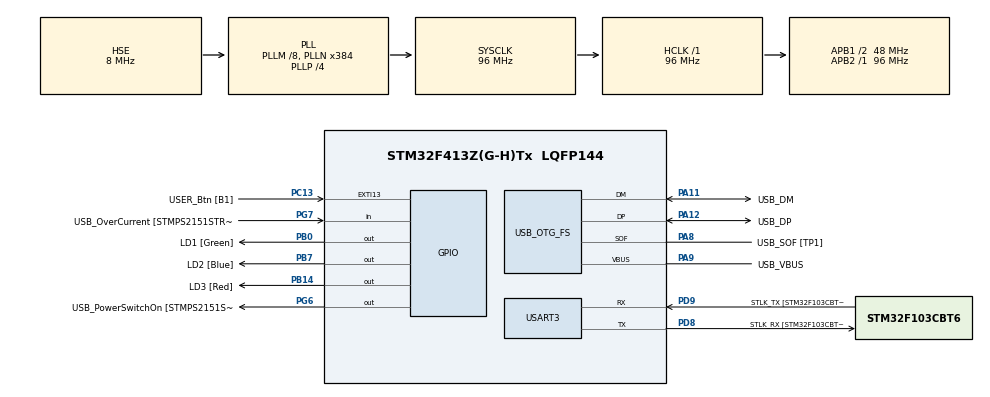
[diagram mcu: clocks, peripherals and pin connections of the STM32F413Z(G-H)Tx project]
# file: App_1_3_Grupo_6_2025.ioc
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Mcu.Family=STM32F4
Mcu.Name=STM32F413Z(G-H)Tx
Mcu.Package=LQFP144
NVIC.PriorityGroup=NVIC_PRIORITYGROUP_4
PA10.GPIO_Label=USB_ID
PA10.Signal=USB_OTG_FS_ID
PA11.GPIO_Label=USB_DM
PA11.Mode=Device_Only
PA11.Signal=USB_OTG_FS_DM
PA12.GPIO_Label=USB_DP
PA12.Mode=Device_Only
PA12.Signal=USB_OTG_FS_DP
PA13.GPIO_Label=TMS
PA13.Mode=Serial_Wire
PA13.Signal=SYS_JTMS-SWDIO
PA14.GPIO_Label=TCK
PA14.Mode=Serial_Wire
PA14.Signal=SYS_JTCK-SWCLK
PA8.GPIO_Label=USB_SOF [TP1]
PA8.Mode=Activate_SOF_FS
PA8.Signal=USB_OTG_FS_SOF
PA9.GPIO_Label=USB_VBUS
PA9.Mode=Activate_VBUS
PA9.Signal=USB_OTG_FS_VBUS
PB0.GPIO_Label=LD1 [Green]
PB0.Signal=GPIO_Output
PB14.GPIO_Label=LD3 [Red]
PB14.Signal=GPIO_Output
PB3.GPIO_Label=SWO
PB3.Signal=SYS_JTDO-SWO
PB7.GPIO_Label=LD2 [Blue]
PB7.Signal=GPIO_Output
PC13.GPIO_Label=USER_Btn [B1]
PC13.Signal=GPXTI13
PC14-OSC32_IN.Mode=LSE-External-Oscillator
PC14-OSC32_IN.Signal=RCC_OSC32_IN
PC15-OSC32_OUT.Mode=LSE-External-Oscillator
PC15-OSC32_OUT.Signal=RCC_OSC32_OUT
PD8.GPIO_Label=STLK_RX [STM32F103CBT6_PA3]
PD8.Mode=Asynchronous
PD8.Signal=USART3_TX
PD9.GPIO_Label=STLK_TX [STM32F103CBT6_PA2]
PD9.Mode=Asynchronous
PD9.Signal=USART3_RX
PG6.GPIO_Label=USB_PowerSwitchOn [STMPS2151STR_EN]
PG6.Signal=GPIO_Output
PG7.GPIO_Label=USB_OverCurrent [STMPS2151STR_FAULT]
PG7.Signal=GPIO_Input
PH0\ -\ OSC_IN.GPIO_Label=MCO
PH0\ -\ OSC_IN.Mode=HSE-External-Clock-Source
PH0\ -\ OSC_IN.Signal=RCC_OSC_IN
PH1\ -\ OSC_OUT.Mode=HSE-External-Clock-Source
PH1\ -\ OSC_OUT.Signal=RCC_OSC_OUT
ProjectManager.HeapSize=0x200
ProjectManager.StackSize=0x400
ProjectManager.TargetToolchain=STM32CubeIDE
RCC.48MHZClocksFreq_Value=24000000
RCC.AHBFreq_Value=96000000
RCC.APB1CLKDivider=RCC_HCLK_DIV2
RCC.APB1Freq_Value=48000000
RCC.APB1TimFreq_Value=96000000
RCC.APB2Freq_Value=96000000
RCC.APB2TimFreq_Value=96000000
RCC.CortexFreq_Value=96000000
RCC.HCLKFreq_Value=96000000
RCC.HSE_VALUE=8000000
RCC.HSI_VALUE=16000000
RCC.PLLM=8
RCC.PLLMUL=RCC_PLL_MUL9
RCC.PLLN=384
RCC.PLLP=RCC_PLLP_DIV4
RCC.PLLQ=8
RCC.PRESCALERUSB=RCC_USBCLKSOURCE_PLL_DIV1_5
RCC.SYSCLKFreq_VALUE=96000000
RCC.SYSCLKSource=RCC_SYSCLKSOURCE_PLLCLK
RCC.SYSCLKSourceVirtual=RCC_SYSCLKSOURCE_PLLCLK
RCC.USBFreq_Value=48000000
RCC.VCOOutputFreq_Value=384000000
USART3.VirtualMode=VM_ASYNC
USB_OTG_FS.VirtualMode=Device_Only
board=NUCLEO-F413ZH

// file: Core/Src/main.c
/* USER CODE BEGIN Header */
/**
  ******************************************************************************
  * @file           : main.c
  * @brief          : Main program body
  ******************************************************************************
  * @attention
  *
  * Copyright (c) 2025 STMicroelectronics.
  * All rights reserved.
  *
  * This software is licensed under terms that can be found in the LICENSE file
  * in the root directory of this software component.
  * If no LICENSE file comes with this software, it is provided AS-IS.
  *
  ******************************************************************************
  */
/* USER CODE END Header */
#include "main.h"
#include <stdbool.h>

/* USER CODE BEGIN PTD */
typedef enum{				//Se definen dos constantes enum para las secuencias y se utiliza typedef para asignarle el alias secuencia
	secuencia_1=1,
	secuencia_2=2,
	secuencia_3=3,
	secuencia_4=4
} secuencia;
/* USER CODE END PTD */

/* USER CODE BEGIN PD */
#define N 3 //variable N para definir el tamaño del vector LED
int LED[N]={LD1_Pin, LD2_Pin, LD3_Pin}; 	/*Vector de leds*/
secuencia estado_secuencia=secuencia_1;  //el estado inicial sera la secuencia normal

int estado_boton=0, estado_anterior=GPIO_PIN_RESET;		//Controlar si el boton esta presionado y si es que no mantuvo asi hasta que vuelva a controlarse el estado

/* USER CODE END PD */

UART_HandleTypeDef huart3;

PCD_HandleTypeDef hpcd_USB_OTG_FS;

/* USER CODE BEGIN PV */
void secuencia1(void);
void secuencia2(void);
void secuencia3(void);
void secuencia4(void);
/* USER CODE END PV */

void SystemClock_Config(void);
static void MX_GPIO_Init(void);
static void MX_USART3_UART_Init(void);
static void MX_USB_OTG_FS_PCD_Init(void);

int main(void)
{

  /* MCU Configuration--------------------------------------------------------*/

  /* Reset of all peripherals, Initializes the Flash interface and the Systick. */
  HAL_Init();

  /* Configure the system clock */
  SystemClock_Config();

  /* Initialize all configured peripherals */
  MX_GPIO_Init();
  MX_USART3_UART_Init();
  MX_USB_OTG_FS_PCD_Init();

  /* Infinite loop */
  /* USER CODE BEGIN WHILE */
  while (1)
  {
    /* Secuencia de parpadeo de leds que se alterna cada vez que se presiona el boton de usuario en la placa */

	  estado_boton=HAL_GPIO_ReadPin(GPIOC,USER_Btn_Pin);		//Compruebo si el boton esta presionado

	  if(estado_boton==GPIO_PIN_SET && estado_anterior==GPIO_PIN_RESET){	/*	-Cambia el estado de la secuencia
		  	  	  	  	  	  	  	  	  	  	  	  	  	  	  	  	  	 	- Evita que alterne una y otra vez si se lo mantiene presionado*/
		  	estado_secuencia=estado_secuencia+1; 							/*	Los valores para las 4 secuencias de 1 a 4*/

		  	if(estado_secuencia==5){
		  		estado_secuencia=1;											/* Cuando termina la secuencia 4 vuelve a la secuencia 1*/
		  	}
		  	HAL_GPIO_WritePin(GPIOB, LED[0] | LED[1]| LED[2], GPIO_PIN_RESET);
	  }
	  estado_anterior=estado_boton;											/* Guarda el si el boton esta pulsado o no cuando se hizo el control*/

	  /* Selecciona cual secuencia se ejecutara*/
	  switch (estado_secuencia){

	  	  case 1:
	  		  	  	  secuencia1();
	  		  	  	  break;
	  	  case 2:
	  		  		  secuencia2();
	  		  		  break;
	  	  case 3:
	  		  		  secuencia3();
	  		  		  break;
	  	  case 4:
	  		  		  secuencia4();
	  		  		  break;
	  }

  }
}

void SystemClock_Config(void)
{
  RCC_OscInitTypeDef RCC_OscInitStruct = {0};
  RCC_ClkInitTypeDef RCC_ClkInitStruct = {0};

  /** Configure the main internal regulator output voltage
  */
  __HAL_RCC_PWR_CLK_ENABLE();
  __HAL_PWR_VOLTAGESCALING_CONFIG(PWR_REGULATOR_VOLTAGE_SCALE1);

  /** Initializes the RCC Oscillators according to the specified parameters
  * in the RCC_OscInitTypeDef structure.
  */
  RCC_OscInitStruct.OscillatorType = RCC_OSCILLATORTYPE_HSE;
  RCC_OscInitStruct.HSEState = RCC_HSE_BYPASS;
  RCC_OscInitStruct.PLL.PLLState = RCC_PLL_ON;
  RCC_OscInitStruct.PLL.PLLSource = RCC_PLLSOURCE_HSE;
  RCC_OscInitStruct.PLL.PLLM = 8;
  RCC_OscInitStruct.PLL.PLLN = 384;
  RCC_OscInitStruct.PLL.PLLP = RCC_PLLP_DIV4;
  RCC_OscInitStruct.PLL.PLLQ = 8;
  RCC_OscInitStruct.PLL.PLLR = 2;
  if (HAL_RCC_OscConfig(&RCC_OscInitStruct) != HAL_OK)
  {
    Error_Handler();
  }

  /** Initializes the CPU, AHB and APB buses clocks
  */
  RCC_ClkInitStruct.ClockType = RCC_CLOCKTYPE_HCLK|RCC_CLOCKTYPE_SYSCLK
                              |RCC_CLOCKTYPE_PCLK1|RCC_CLOCKTYPE_PCLK2;
  RCC_ClkInitStruct.SYSCLKSource = RCC_SYSCLKSOURCE_PLLCLK;
  RCC_ClkInitStruct.AHBCLKDivider = RCC_SYSCLK_DIV1;
  RCC_ClkInitStruct.APB1CLKDivider = RCC_HCLK_DIV2;
  RCC_ClkInitStruct.APB2CLKDivider = RCC_HCLK_DIV1;

  if (HAL_RCC_ClockConfig(&RCC_ClkInitStruct, FLASH_LATENCY_3) != HAL_OK)
  {
    Error_Handler();
  }
}

static void MX_USART3_UART_Init(void)
{

  huart3.Instance = USART3;
  huart3.Init.BaudRate = 115200;
  huart3.Init.WordLength = UART_WORDLENGTH_8B;
  huart3.Init.StopBits = UART_STOPBITS_1;
  huart3.Init.Parity = UART_PARITY_NONE;
  huart3.Init.Mode = UART_MODE_TX_RX;
  huart3.Init.HwFlowCtl = UART_HWCONTROL_NONE;
  huart3.Init.OverSampling = UART_OVERSAMPLING_16;
  if (HAL_UART_Init(&huart3) != HAL_OK)
  {
    Error_Handler();
  }

}

static void MX_USB_OTG_FS_PCD_Init(void)
{

  hpcd_USB_OTG_FS.Instance = USB_OTG_FS;
  hpcd_USB_OTG_FS.Init.dev_endpoints = 6;
  hpcd_USB_OTG_FS.Init.speed = PCD_SPEED_FULL;
  hpcd_USB_OTG_FS.Init.dma_enable = DISABLE;
  hpcd_USB_OTG_FS.Init.phy_itface = PCD_PHY_EMBEDDED;
  hpcd_USB_OTG_FS.Init.Sof_enable = ENABLE;
  hpcd_USB_OTG_FS.Init.low_power_enable = DISABLE;
  hpcd_USB_OTG_FS.Init.lpm_enable = DISABLE;
  hpcd_USB_OTG_FS.Init.battery_charging_enable = ENABLE;
  hpcd_USB_OTG_FS.Init.vbus_sensing_enable = ENABLE;
  hpcd_USB_OTG_FS.Init.use_dedicated_ep1 = DISABLE;
  if (HAL_PCD_Init(&hpcd_USB_OTG_FS) != HAL_OK)
  {
    Error_Handler();
  }

}

static void MX_GPIO_Init(void)
{
  GPIO_InitTypeDef GPIO_InitStruct = {0};

  /* GPIO Ports Clock Enable */
  __HAL_RCC_GPIOC_CLK_ENABLE();
  __HAL_RCC_GPIOH_CLK_ENABLE();
  __HAL_RCC_GPIOB_CLK_ENABLE();
  __HAL_RCC_GPIOD_CLK_ENABLE();
  __HAL_RCC_GPIOG_CLK_ENABLE();
  __HAL_RCC_GPIOA_CLK_ENABLE();

  /*Configure GPIO pin Output Level */
  HAL_GPIO_WritePin(GPIOB, LD1_Pin|LD3_Pin|LD2_Pin, GPIO_PIN_RESET);

  /*Configure GPIO pin Output Level */
  HAL_GPIO_WritePin(USB_PowerSwitchOn_GPIO_Port, USB_PowerSwitchOn_Pin, GPIO_PIN_RESET);

  /*Configure GPIO pin : USER_Btn_Pin */
  GPIO_InitStruct.Pin = USER_Btn_Pin;
  GPIO_InitStruct.Mode = GPIO_MODE_IT_RISING;
  GPIO_InitStruct.Pull = GPIO_NOPULL;
  HAL_GPIO_Init(USER_Btn_GPIO_Port, &GPIO_InitStruct);

  /*Configure GPIO pins : LD1_Pin LD3_Pin LD2_Pin */
  GPIO_InitStruct.Pin = LD1_Pin|LD3_Pin|LD2_Pin;
  GPIO_InitStruct.Mode = GPIO_MODE_OUTPUT_PP;
  GPIO_InitStruct.Pull = GPIO_NOPULL;
  GPIO_InitStruct.Speed = GPIO_SPEED_FREQ_LOW;
  HAL_GPIO_Init(GPIOB, &GPIO_InitStruct);

  /*Configure GPIO pin : USB_PowerSwitchOn_Pin */
  GPIO_InitStruct.Pin = USB_PowerSwitchOn_Pin;
  GPIO_InitStruct.Mode = GPIO_MODE_OUTPUT_PP;
  GPIO_InitStruct.Pull = GPIO_NOPULL;
  GPIO_InitStruct.Speed = GPIO_SPEED_FREQ_LOW;
  HAL_GPIO_Init(USB_PowerSwitchOn_GPIO_Port, &GPIO_InitStruct);

  /*Configure GPIO pin : USB_OverCurrent_Pin */
  GPIO_InitStruct.Pin = USB_OverCurrent_Pin;
  GPIO_InitStruct.Mode = GPIO_MODE_INPUT;
  GPIO_InitStruct.Pull = GPIO_NOPULL;
  HAL_GPIO_Init(USB_OverCurrent_GPIO_Port, &GPIO_InitStruct);

}

/* USER CODE BEGIN 4 */
void secuencia1(void){							/* Funcion para encender en orden ascendente el vector de leds (Verde, Azul, Rojo)*/

	HAL_GPIO_WritePin(GPIOB, LED[N-1], GPIO_PIN_RESET);
	for (int i = 0; i < N; i++)
	{
		HAL_GPIO_WritePin(GPIOB, LED[i], GPIO_PIN_SET);
		HAL_Delay(200);
		HAL_GPIO_WritePin(GPIOB, LED[i], GPIO_PIN_RESET);
		HAL_Delay(200);
	}
}

/* Funcion para hacer parpadear los 3 leds de manera simultanea cada 300ms*/
void secuencia2(void){

	HAL_GPIO_WritePin(GPIOB, LED[0] | LED[1]| LED[2], GPIO_PIN_SET);
	HAL_Delay(300);
	HAL_GPIO_WritePin(GPIOB, LED[0] | LED[1]| LED[2], GPIO_PIN_RESET);

}
// Funcion para hacer parpadear el LED1 cada 100ms, LED2 cada 300ms, LED3 cada 600ms
void secuencia3(){
	HAL_GPIO_TogglePin(GPIOB, LED[0] | LED[1]| LED[2]);
	HAL_Delay(100);
	HAL_GPIO_TogglePin(GPIOB, LED[0]);
	HAL_Delay(100);
	HAL_GPIO_TogglePin(GPIOB, LED[0]);
	HAL_Delay(100);
	HAL_GPIO_TogglePin(GPIOB, LED[0] | LED[1]);
	HAL_Delay(100);
	HAL_GPIO_TogglePin(GPIOB, LED[0]);
	HAL_Delay(100);
	HAL_GPIO_TogglePin(GPIOB, LED[0]);
	HAL_Delay(100);

}

// Funcion para hacer parpadear simultaneamente el LED1 y LED3
void secuencia4(){

	HAL_GPIO_WritePin(GPIOB, LED[2], GPIO_PIN_RESET);
	HAL_GPIO_TogglePin(GPIOB, LED[0] | LED[2]);
	HAL_Delay(150);
	HAL_GPIO_TogglePin(GPIOB, LED[0] | LED[1] | LED[2]);
	HAL_Delay(150);

}
/* USER CODE END 4 */

void Error_Handler(void)
{
  __disable_irq();
  while (1)
  {
  }
}
